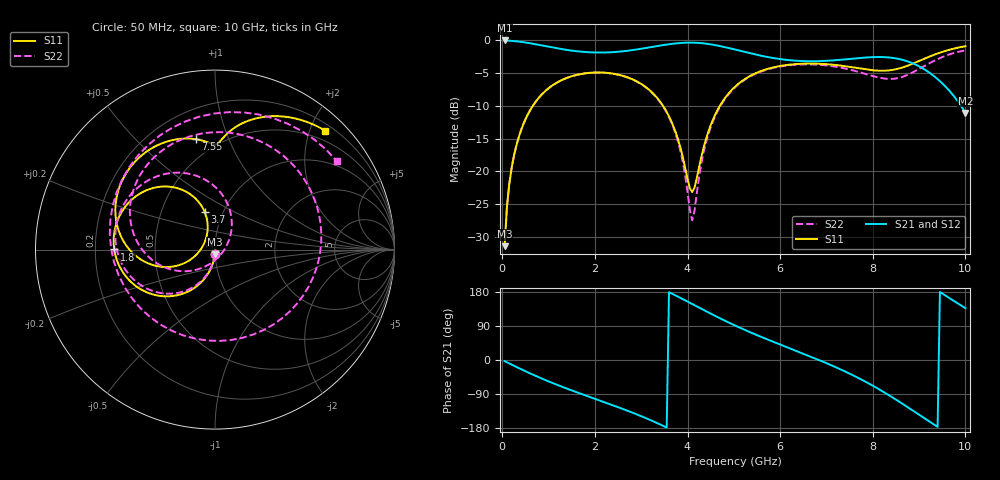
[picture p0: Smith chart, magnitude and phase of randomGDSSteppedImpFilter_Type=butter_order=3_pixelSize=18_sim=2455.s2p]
! freq	dB(S11)	phase(S11)	dB(S12)	phase(S12)
!  dB(S21)	phase(S21)	dB(S22)	phase(S22)
!S-par simulation data
#  GHz  S  DB  R 50
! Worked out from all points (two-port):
!   200 points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, 50 MHz to 10 GHz, reference 50 ohm
!   highest |S21| = -0.01 dB at 50 MHz (marker M1); lowest = -11.1 dB at 10 GHz (marker M2)
!   |S21| within 3 dB of the highest: start of sweep to 6.187 GHz; 7.225 GHz to 8.663 GHz (1.439 GHz wide, 18.1 % of centre)
!   lowest |S11| = -31.4 dB at 50 MHz (marker M3), VSWR 1.06, Z = 49.8 - j2.68 ohm
!   |S11| at or under -10 dB: start of sweep to 658.4 MHz; 3.471 GHz to 4.697 GHz (1.226 GHz wide, 30 % of centre)
!   |S22| runs from -31.4 to -1.5 dB; largest |S21 - S12| = 0
!   S11 on the Smith chart (normalised r, x): 50 MHz: 1.00, -0.05; 1.8 GHz: 0.28, +0.00; 3.7 GHz: 0.82, +0.36; 7.55 GHz: 0.38, +0.77; 10 GHz: 0.31, +2.25
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0.05  -31.40 -93.1  -0.01 -3.1  -0.01 -3.1  -31.41 -93.3
0.1  -25.43 -96.2  -0.02 -6.1  -0.02 -6.1  -25.43 -96.6
0.2  -19.54 -102.1  -0.07 -12.1  -0.07 -12.1  -19.54 -102.9
0.5  -12.05 -119.2  -0.32 -29.7  -0.32 -29.7  -12.05 -121.2
1.05  -7.03 -147.3  -1.04 -59.0  -1.04 -59.0  -7.04 -151.7
1.75  -5.06 -178.0  -1.75 -91.5  -1.75 -91.5  -5.07 174.2
1.8  -5.01 179.9  -1.78 -93.7  -1.78 -93.7  -5.02 171.9
2.7  -5.63 143.6  -1.59 -133.7  -1.59 -133.7  -5.64 128.9
3.4  -9.28 114.7  -0.80 -169.6  -0.80 -169.6  -9.35 88.3
3.7  -13.19 105.4  -0.49 172.9  -0.49 172.9  -13.41 65.4
4.1  -23.15 154.6  -0.34 147.9  -0.34 147.9  -27.46 -38.5
4.45  -13.92 -156.2  -0.55 125.5  -0.55 125.5  -14.34 -141.3
5.05  -6.91 -176.6  -1.44 89.6  -1.44 89.6  -7.02 172.3
5.75  -4.31 155.4  -2.57 53.0  -2.57 53.0  -4.39 129.3
6.7  -3.53 123.0  -3.18 6.9  -3.18 6.9  -3.67 71.2
7.55  -4.09 99.9  -2.80 -39.0  -2.80 -39.0  -4.53 4.1
7.95  -4.52 92.7  -2.57 -64.4  -2.57 -64.4  -5.34 -39.5
8.35  -4.58 88.7  -2.60 -93.0  -2.60 -93.0  -5.88 -94.9
8.75  -3.87 84.7  -3.20 -124.1  -3.20 -124.1  -5.26 -157.7
9.05  -2.99 78.9  -4.15 -148.4  -4.15 -148.4  -4.16 157.1
9.55  -1.64 63.8  -6.90 171.5  -6.90 171.5  -2.40 90.3
10  -0.89 47.3  -11.06 136.9  -11.06 136.9  -1.53 36.1
